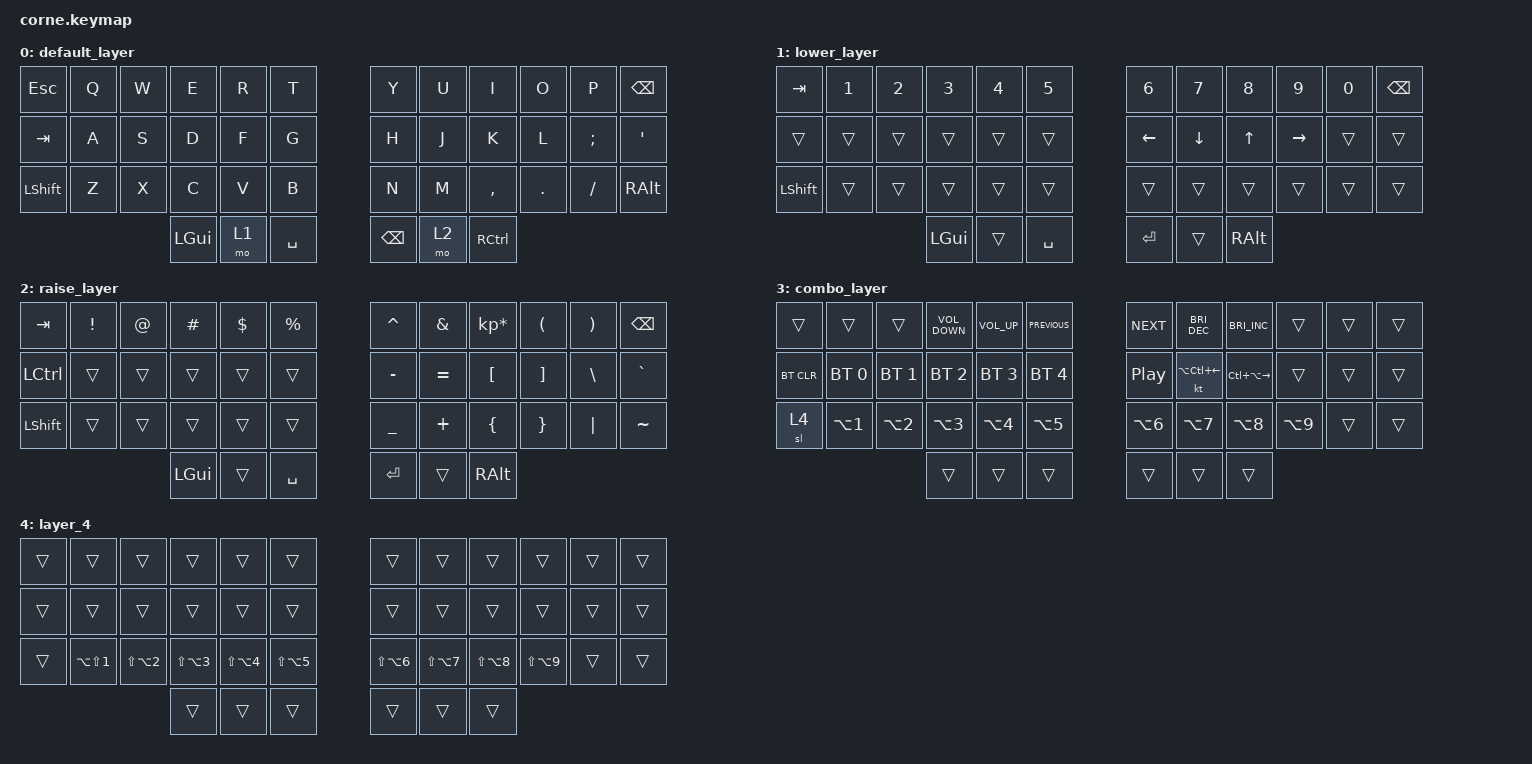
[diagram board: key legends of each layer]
/*
 * Copyright (c) 2020 The ZMK Contributors
 *
 * SPDX-License-Identifier: MIT
 */

#include <behaviors.dtsi>
#include <dt-bindings/zmk/bt.h>
#include <dt-bindings/zmk/keys.h>

&led_strip { chain-length = <27>; };

/ {
    keymap {
        compatible = "zmk,keymap";

        default_layer {
            // -----------------------------------------------------------------------------------------
            // |  TAB |  Q  |  W  |  E  |  R  |  T  |   |  Y  |  U   |  I  |  O  |  P  | BKSP |
            // | CTRL |  A  |  S  |  D  |  F  |  G  |   |  H  |  J   |  K  |  L  |  ;  |  '   |
            // | SHFT |  Z  |  X  |  C  |  V  |  B  |   |  N  |  M   |  ,  |  .  |  /  | ESC  |
            //                    | GUI | LWR | SPC |   | ENT | RSE  | ALT |

            bindings = <
&kp ESCAPE  &kp Q  &kp W  &kp E     &kp R  &kp T        &kp Y          &kp U  &kp I              &kp O    &kp P     &kp BSPC
&kp TAB     &kp A  &kp S  &kp D     &kp F  &kp G        &kp H          &kp J  &kp K              &kp L    &kp SEMI  &kp SQT
&kp LSHFT   &kp Z  &kp X  &kp C     &kp V  &kp B        &kp N          &kp M  &kp COMMA          &kp DOT  &kp FSLH  &kp RIGHT_ALT
                          &kp LGUI  &mo 1  &kp SPACE    &kp BACKSPACE  &mo 2  &kp RIGHT_CONTROL
            >;
        };

        lower_layer {
            // -----------------------------------------------------------------------------------------
            // |  TAB |  1  |  2  |  3  |  4  |  5  |   |  6  |  7  |  8  |  9  |  0  | BKSP |
            // | BTCLR| BT1 | BT2 | BT3 | BT4 | BT5 |   | LFT | DWN |  UP | RGT |     |      |
            // | SHFT |     |     |     |     |     |   |     |     |     |     |     |      |
            //                    | GUI |     | SPC |   | ENT |     | ALT |

            bindings = <
&kp TAB    &kp N1  &kp N2  &kp N3    &kp N4  &kp N5       &kp N6    &kp N7    &kp N8    &kp N9     &kp N0  &kp BSPC
&trans     &trans  &trans  &trans    &trans  &trans       &kp LEFT  &kp DOWN  &kp UP    &kp RIGHT  &trans  &trans
&kp LSHFT  &trans  &trans  &trans    &trans  &trans       &trans    &trans    &trans    &trans     &trans  &trans
                           &kp LGUI  &trans  &kp SPACE    &kp RET   &trans    &kp RALT
            >;
        };

        raise_layer {
            // -----------------------------------------------------------------------------------------
            // |  TAB |  !  |  @  |  #  |  $  |  %  |   |  ^  |  &  |  *  |  (  |  )  | BKSP |
            // | CTRL |     |     |     |     |     |   |  -  |  =  |  [  |  ]  |  \  |  `   |
            // | SHFT |     |     |     |     |     |   |  _  |  +  |  {  |  }  | "|" |  ~   |
            //                    | GUI |     | SPC |   | ENT |     | ALT |

            bindings = <
&kp TAB    &kp EXCL  &kp AT  &kp HASH  &kp DLLR  &kp PRCNT    &kp CARET  &kp AMPS   &kp KP_MULTIPLY  &kp LPAR  &kp RPAR  &kp BSPC
&kp LCTRL  &trans    &trans  &trans    &trans    &trans       &kp MINUS  &kp EQUAL  &kp LBKT         &kp RBKT  &kp BSLH  &kp GRAVE
&kp LSHFT  &trans    &trans  &trans    &trans    &trans       &kp UNDER  &kp PLUS   &kp LBRC         &kp RBRC  &kp PIPE  &kp TILDE
                             &kp LGUI  &trans    &kp SPACE    &kp RET    &trans     &kp RALT
            >;
        };

        combo_layer {
            bindings = <
&trans      &trans            &trans            &kp C_VOLUME_DOWN  &kp C_VOLUME_UP   &kp C_PREVIOUS      &kp C_NEXT        &kp C_BRIGHTNESS_DEC    &kp C_BRIGHTNESS_INC     &trans            &trans  &trans
&bt BT_CLR  &bt BT_SEL 0      &bt BT_SEL 1      &bt BT_SEL 2       &bt BT_SEL 3      &bt BT_SEL 4        &kp C_PLAY_PAUSE  &kt LA(LC(LEFT_ARROW))  &kp LC(LA(RIGHT_ARROW))  &trans            &trans  &trans
&sl 4       &kp LA(NUMBER_1)  &kp LA(NUMBER_2)  &kp LA(NUMBER_3)   &kp LA(NUMBER_4)  &kp LA(NUMBER_5)    &kp LA(NUMBER_6)  &kp LA(NUMBER_7)        &kp LA(NUMBER_8)         &kp LA(NUMBER_9)  &trans  &trans
                                                &trans             &trans            &trans              &trans            &trans                  &trans
            >;
        };

        layer_4 {
            bindings = <
&trans  &trans                &trans                &trans                &trans                &trans                  &trans                &trans                &trans                &trans                &trans  &trans
&trans  &trans                &trans                &trans                &trans                &trans                  &trans                &trans                &trans                &trans                &trans  &trans
&trans  &kp LA(LS(NUMBER_1))  &kp LS(LA(NUMBER_2))  &kp LS(LA(NUMBER_3))  &kp LS(LA(NUMBER_4))  &kp LS(LA(NUMBER_5))    &kp LS(LA(NUMBER_6))  &kp LS(LA(NUMBER_7))  &kp LS(LA(NUMBER_8))  &kp LS(LA(NUMBER_9))  &trans  &trans
                                                    &trans                &trans                &trans                  &trans                &trans                &trans
            >;
        };
    };

    conditional_layers {
        compatible = "zmk,conditional-layers";

        combo_layer {
            if-layers = <1 2>;
            then-layer = <3>;
        };
    };
};
